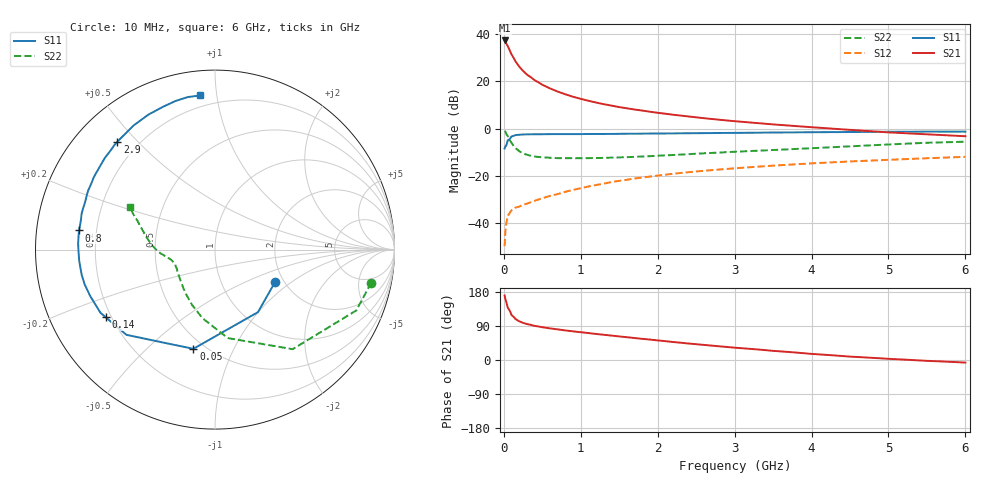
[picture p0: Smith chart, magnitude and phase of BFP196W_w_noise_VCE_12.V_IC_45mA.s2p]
! (c) 2017  Infineon Technologies AG, Munich
! Infineon Technologies  Discrete & RF Semiconductors
! BFP196W
! VCE =  12. V,  IC =  45 mA
! Common Emitter S-Parameters:  Jan 2017
# GHz  S  MA  R  50
!  f  S11  S21  S12  S22
! GHz  MAG  ANG  MAG  ANG  MAG  ANG  MAG  ANG
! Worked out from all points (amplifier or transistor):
!   77 points, 10 MHz to 6 GHz, reference 50 ohm
!   highest |S21| = 37.2 dB at 10 MHz (marker M1)
!   |S21| within 3 dB of that: start of sweep to 59.83 MHz
!   unconditionally stable (mu >= 1): 758.1 MHz to 3.259 GHz
!   at 130 MHz: K = 0.38, MSG = 31.7 dB, |S12| = -33.8 dB
!   at 2.2 GHz: K = 1.05, MAG = 11.2 dB, |S12| = -19.1 dB
!   at 6 GHz: K = 0.92, MSG = 4.4 dB, |S12| = -11.9 dB
!   lowest NFmin = 1.31 dB at 450 MHz
!   S11 on the Smith chart (normalised r, x): 10 MHz: 1.79, -0.76; 50 MHz: 0.44, -0.71; 140 MHz: 0.18, -0.28; 800 MHz: 0.13, +0.07; 2.9 GHz: 0.13, +0.44; 6 GHz: 0.13, +0.90
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0.01  0.3804 -28.6  72.44 170.3  0.0033 62.6  0.8902 -11.9
0.02  0.4228 -55.5  68.91 160.5  0.0069 65.2  0.8571 -23.3
0.05  0.5658 -102.3  55.32 138.5  0.0142 51.2  0.7033 -52.1
0.1  0.6849 -136.1  36.73 118.4  0.0189 42.2  0.4979 -81.8
0.14  0.7162 -148.3  28.39 111.0  0.021 40.0  0.4066 -95.8
0.15  0.7287 -151.1  26.4 108.4  0.0215 39.5  0.3887 -100.3
0.2  0.7418 -159.5  20.35 102.2  0.0225 39.4  0.3342 -112.4
0.25  0.7518 -165.1  16.5 97.9  0.0247 39.9  0.3 -121.7
0.3  0.7559 -169.2  13.84 94.9  0.026 42.6  0.28 -128.6
0.4  0.7591 -175.1  10.51 90.0  0.0299 47.1  0.2575 -138.6
0.5  0.7606 -179.2  8.422 86.5  0.0339 50.3  0.2474 -144.9
0.6  0.7633 177.5  7.044 83.4  0.0379 53.2  0.2425 -149.8
0.7  0.7638 174.8  6.036 80.8  0.0415 55.8  0.2379 -153.2
0.8  0.7653 172.0  5.291 78.0  0.0463 57.9  0.2373 -155.4
1.1  0.7694 165.1  3.862 71.1  0.06 59.2  0.238 -160.7
1.5  0.7758 157.1  2.844 62.3  0.0789 59.6  0.247 -165.5
2.1  0.7893 145.6  2.058 49.7  0.1065 56.8  0.272 -171.3
2.9  0.8101 132.2  1.484 34.4  0.1409 51.2  0.3181 -178.4
3.1  0.8142 129.1  1.389 31.0  0.1491 49.6  0.33 179.7
4.1  0.8395 114.9  1.042 14.8  0.1879 41.8  0.3922 169.0
5.1  0.8575 104.0  0.816 2.1  0.2226 34.2  0.47 158.8
6  0.8628 95.5  0.69 -6.8  0.2534 27.2  0.5285 153.4
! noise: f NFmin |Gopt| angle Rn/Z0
0.45  1.31  0.5  -177  0.05
0.9  1.44  0.54  -172  0.07
1.9  2.26  0.69  -150  0.15
2.4  2.66  0.73  -145  0.25
